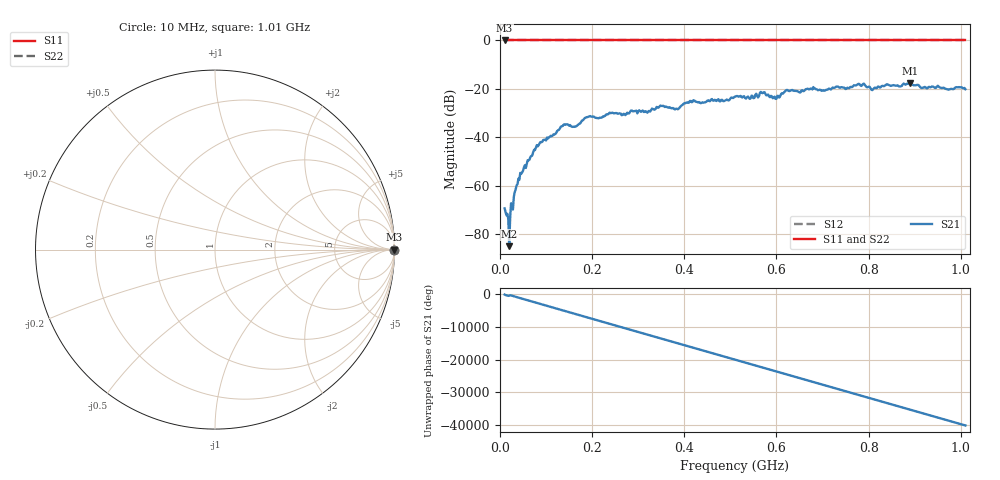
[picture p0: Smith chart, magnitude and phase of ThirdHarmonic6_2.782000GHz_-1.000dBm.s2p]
! 8/17/2025 7:08:38 AM
! C:\ANRITSUVNA\TEMP\TEMP.S2P
! CHANNEL.1
! TR.MEASUREMENT
! RAW.DATA
! RF.CORRECTION.OFF
! AVERAGING.OFF
! IF.BANDWIDTH: 5KHZ
! SWEEPTYPE:  FREQ.SWEEP(Linear)
! Reference Plane Port Info
! PORT:  PORT1  PORT2
! DISTANCE:  0  m  0  m
! TIME:  0  s  0  s
! PHASE.OFFSET:  0  deg.  0  deg.
! LOSS:  0  dB  0  dB
! REF.LOSS:  0  dB  0  dB
! REF.FREQ:  0  Hz  0  Hz
! Power Info
! POWER:  -20  dBm  -20  dBm
! EFF.POWER:  -20  dBm  -20  dBm
! SOURCE.ATTEN:  0  dB  0  dB
! TEST.ATTEN:  0  dB  0  dB
# GHZ S RI R 50.0
! FREQ.GHZ  S11RE  S11IM  S21RE  S21IM  S12RE  S12IM  S22RE  S22IM
!; PortSelection: Port_12
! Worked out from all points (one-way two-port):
!   501 points, 10 MHz to 1.01 GHz, reference 50 ohm
!   highest |S21| = -17.68 dB at 890 MHz (marker M1); lowest = -85.0 dB at 20 MHz (marker M2)
!   lowest |S11| = 0.0 dB at 10 MHz (marker M3)
!   |S11| at or under -10 dB: nowhere
!   |S22| runs from 0.0 to 0.0 dB; largest |S21 - S12| = 1.1
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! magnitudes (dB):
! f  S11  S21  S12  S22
! 10 MHz  0.0  -69.4  0.0  0.0
! 16 MHz  0.0  -71.6  0.0  0.0
! 20 MHz  0.0  -85.0  0.0  0.0
! 24 MHz  0.0  -67.3  0.0  0.0
! 28 MHz  0.0  -69.9  0.0  0.0
! 40 MHz  0.0  -57.1  0.0  0.0
! 76 MHz  0.0  -45.3  0.0  0.0
! 136 MHz  0.0  -35.4  0.0  0.0
! 162 MHz  0.0  -35.7  0.0  0.0
! 178 MHz  0.0  -33.1  0.0  0.0
! 344 MHz  0.0  -27.8  0.0  0.0
! 384 MHz  0.0  -28.3  0.0  0.0
! 416 MHz  0.0  -25.5  0.0  0.0
! 510 MHz  0.0  -23.2  0.0  0.0
! 570 MHz  0.0  -21.8  0.0  0.0
! 596 MHz  0.0  -23.3  0.0  0.0
! 622 MHz  0.0  -20.4  0.0  0.0
! 678 MHz  0.0  -20.2  0.0  0.0
! 808 MHz  0.0  -20.5  0.0  0.0
! 844 MHz  0.0  -18.4  0.0  0.0
! 890 MHz  0.0  -17.7  0.0  0.0
! 1.01 GHz  0.0  -20.2  0.0  0.0
